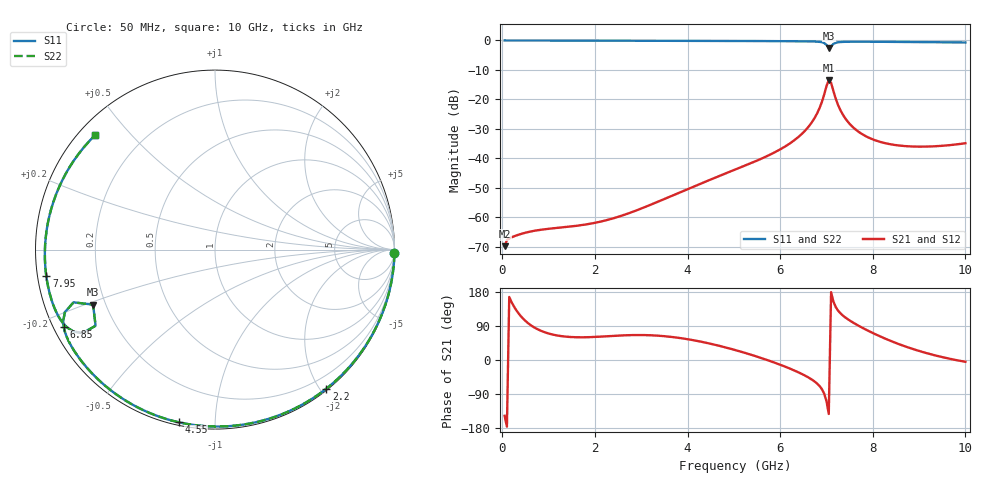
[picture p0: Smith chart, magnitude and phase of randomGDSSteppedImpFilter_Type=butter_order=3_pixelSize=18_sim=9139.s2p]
! freq	dB(S11)	phase(S11)	dB(S12)	phase(S12)
!  dB(S21)	phase(S21)	dB(S22)	phase(S22)
!S-par simulation data
#  GHz  S  DB  R 50
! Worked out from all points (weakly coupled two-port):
!   200 points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, 50 MHz to 10 GHz, reference 50 ohm
!   highest |S21| = -13.41 dB at 7.05 GHz (marker M1); lowest = -69.8 dB at 50 MHz (marker M2)
!   lowest |S11| = -2.6 dB at 7.05 GHz (marker M3), VSWR 6.85, Z = 7.63 - j10.5 ohm
!   |S11| at or under -10 dB: nowhere
!   |S22| runs from -2.6 to 0.0 dB; largest |S21 - S12| = 0
!   S11 on the Smith chart (normalised r, x): 50 MHz: 0, -96; 2.2 GHz: 0.02, -2.08; 4.55 GHz: 0.01, -0.81; 6.85 GHz: 0.03, -0.24; 7.95 GHz: 0.02, -0.08; 10 GHz: 0.05, +0.40
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0.05  -0.00 -1.2  -69.81 -147.3  -69.81 -147.3  -0.00 -1.2
0.15  -0.00 -3.6  -67.18 166.4  -67.18 166.4  -0.00 -3.6
0.45  -0.01 -10.7  -65.45 109.0  -65.45 109.0  -0.01 -10.7
1.75  -0.05 -41.1  -62.58 59.9  -62.58 59.9  -0.05 -41.1
2.2  -0.07 -51.3  -61.19 62.2  -61.19 62.2  -0.07 -51.3
3.4  -0.10 -77.6  -54.46 63.8  -54.46 63.8  -0.10 -77.6
4.55  -0.15 -101.9  -46.87 41.4  -46.87 41.4  -0.15 -101.9
5.05  -0.17 -112.2  -43.71 25.6  -43.71 25.6  -0.17 -112.2
6.15  -0.25 -135.1  -35.56 -19.6  -35.56 -19.6  -0.25 -135.1
6.7  -0.34 -148.0  -27.40 -52.9  -27.40 -52.9  -0.34 -148.0
6.85  -0.47 -152.8  -22.97 -68.6  -22.97 -68.6  -0.47 -152.8
6.95  -0.86 -157.4  -18.41 -88.6  -18.41 -88.6  -0.86 -157.4
7.05  -2.55 -155.7  -13.41 -142.4  -13.41 -142.4  -2.55 -155.7
7.1  -2.06 -147.5  -14.40 179.1  -14.40 179.1  -2.06 -147.5
7.15  -1.19 -147.8  -17.16 154.2  -17.16 154.2  -1.18 -147.8
7.25  -0.62 -152.2  -21.88 130.4  -21.88 130.4  -0.62 -152.2
7.4  -0.46 -157.2  -26.30 112.8  -26.30 112.8  -0.46 -157.2
7.65  -0.42 -163.8  -30.48 93.4  -30.48 93.4  -0.42 -163.8
7.95  -0.43 -171.0  -33.25 74.2  -33.25 74.2  -0.43 -171.0
8.35  -0.47 179.5  -35.14 52.2  -35.14 52.2  -0.47 179.6
9.2  -0.58 158.4  -36.00 16.9  -36.00 16.9  -0.57 158.4
10  -0.69 136.2  -34.87 -4.8  -34.87 -4.8  -0.69 136.3
